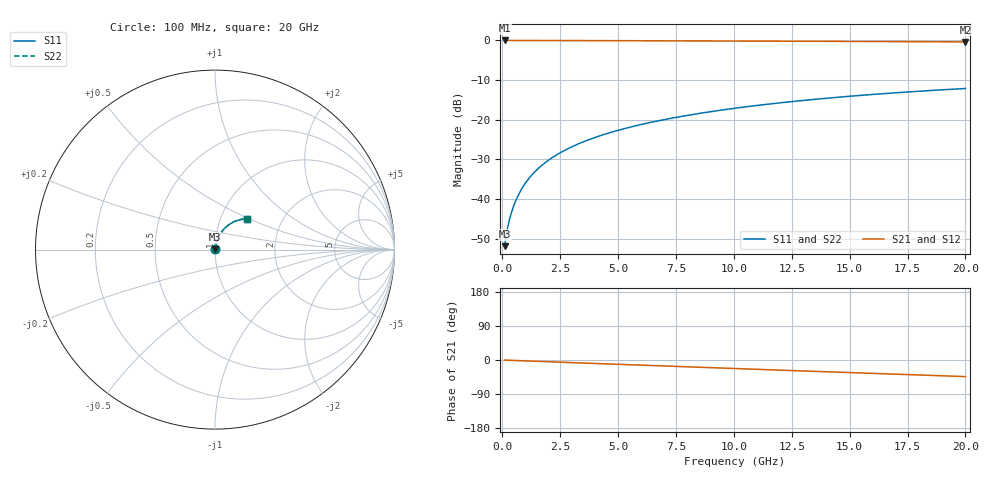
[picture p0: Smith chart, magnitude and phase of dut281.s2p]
! Touchstone file exported from HFSS 2026.1.0
!  File:  C:/ffzhzh/LocalFiles/Ansys_Project_Files/temp_train_TMRDL_281_1782985337_6248.aedt
!  Generated:  05:43:31 PM Jul  2, 2026
!  Design:  TMRDL
!  Project:  temp_train_TMRDL_281_1782985337_6248
! Variables:
!  h_bsmrdl = 2um
!  h_ox = 20um
!  h_rdl = 5um
!  h_sub = 80um
!  h_tmrdl = 5.83um
!  h_tsv = 80um
!  h_via = 3um
!  l_bsmrdl = 300um
!  l_sub = 1124.24um
!  l_tmrdl = 724.24um
!  m_sub = 200um
!  pitch = 46.75um
!  r_tsv = 6um
!  s_tmrdl = 10um
!  w_bsmrdl = 18um
!  w_sub = 500um
!  w_tmrdl = 29.46um
!  x_tsv_center1 = 738.97um
!  x_tsv_center2 = 1056.97um
!  x_tsv_center3 = 1810.67um
!  x_tsv_center4 = 2128.67um
!  x_tsv_center5 = 2882.37um
!  x_tsv_center6 = 3200.37um
# GHz S MA R 50.000000
! Terminal data exported
! Port[1] = TM_RDL1_1_T1
! Port[2] = TM_RDL1_1_T2
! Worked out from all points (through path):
!   200 points, 100 MHz to 20 GHz, reference 50 ohm
!   highest |S21| = -0.02 dB at 100 MHz (marker M1); lowest = -0.4 dB at 20 GHz (marker M2)
!   group delay of S21, straight-line fit = 6.07 ps
!   lowest |S11| = -51.9 dB at 100 MHz (marker M3), VSWR 1.01, Z = 50.2 + j0.183 ohm
!   |S11| at or under -10 dB: start of sweep to end of sweep
!   |S22| runs from -51.9 to -12.1 dB; largest |S21 - S12| = 3.4e-15
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0.1  0.002543 45.9  0.9982 -0.2  0.9982 -0.2  0.002543 45.9
! Gamma 0 0 0 0
! Port Impedance 50 0 50 0
0.2  0.003951 59.7  0.998 -0.5  0.998 -0.5  0.003951 59.7
0.3  0.005372 66.4  0.9979 -0.7  0.9979 -0.7  0.005372 66.4
0.4  0.006823 70.6  0.9978 -0.9  0.9978 -0.9  0.006823 70.6
0.5  0.008302 73.3  0.9977 -1.2  0.9977 -1.2  0.008302 73.3
0.6  0.009801 75.2  0.9977 -1.4  0.9977 -1.4  0.009801 75.2
0.8  0.01283 77.4  0.9975 -1.9  0.9975 -1.9  0.01283 77.4
1.1  0.01739 78.9  0.9973 -2.6  0.9973 -2.6  0.01739 78.9
1.3  0.02043 79.3  0.9971 -3.0  0.9971 -3.0  0.02043 79.3
1.5  0.02345 79.4  0.9968 -3.5  0.9968 -3.5  0.02345 79.4
1.8  0.02795 79.3  0.9964 -4.2  0.9964 -4.2  0.02795 79.3
2.1  0.0324 79.0  0.996 -4.9  0.996 -4.9  0.0324 79.0
2.7  0.04116 78.2  0.9951 -6.2  0.9951 -6.2  0.04116 78.2
3.5  0.0526 76.8  0.9939 -8.0  0.9939 -8.0  0.0526 76.8
4.2  0.06241 75.5  0.9927 -9.6  0.9927 -9.6  0.0624 75.5
5  0.07344 74.0  0.9914 -11.4  0.9914 -11.4  0.07344 74.0
6.8  0.09771 70.5  0.9883 -15.4  0.9883 -15.4  0.0977 70.5
8.3  0.1173 67.5  0.9854 -18.7  0.9854 -18.7  0.1173 67.6
10.1  0.1402 63.9  0.9817 -22.7  0.9817 -22.7  0.1402 63.9
13.4  0.1796 57.2  0.9742 -29.8  0.9742 -29.8  0.1796 57.2
16.7  0.2155 50.4  0.9661 -36.9  0.9661 -36.9  0.2155 50.5
20  0.2474 43.7  0.9578 -43.8  0.9578 -43.8  0.2474 43.8
